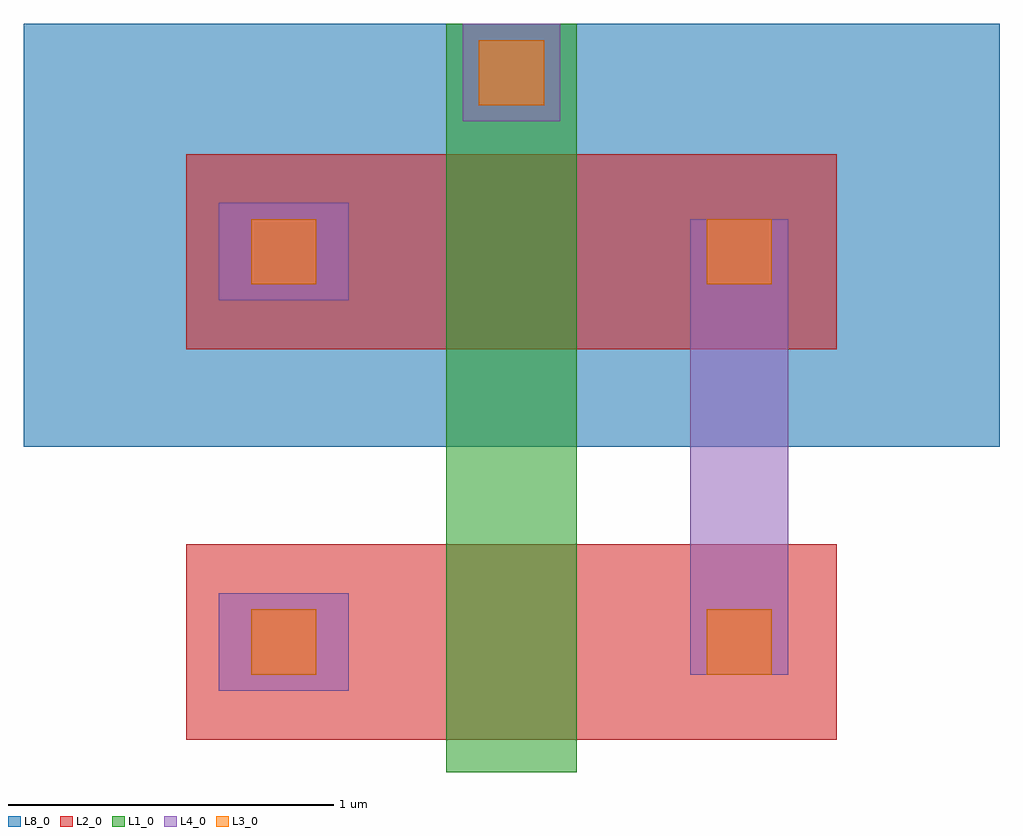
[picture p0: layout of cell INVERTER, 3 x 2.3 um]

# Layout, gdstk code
import gdstk
lib = gdstk.Library(unit=1e-6, precision=1e-09)
def R(c, l, rs):  # rectangles x0, y0, x1, y1
    for r in rs: c.add(gdstk.rectangle(r[:2], r[2:], *l))
L1_0 = (1, 0)
L2_0 = (2, 0)
L3_0 = (3, 0)
L4_0 = (4, 0)
L8_0 = (8, 0)

inverter = lib.new_cell('INVERTER')
R(inverter, L1_0, [(1.3,0,1.7,2.3)])
R(inverter, L2_0, [(0.5,0.1,2.5,0.7), (0.5,1.3,2.5,1.9)])
R(inverter, L3_0, [(0.7,0.3,0.9,0.5), (2.1,0.3,2.3,0.5), (0.7,1.5,0.9,1.7), (2.1,1.5,2.3,1.7), (1.4,2.05,1.6,2.25)])
R(inverter, L4_0, [(0.6,0.25,1,0.55), (2.05,0.3,2.35,1.7), (0.6,1.45,1,1.75), (1.35,2,1.65,2.3)])
R(inverter, L8_0, [(0,1,3,2.3)])

lib.write_gds('INVERTER.gds')
